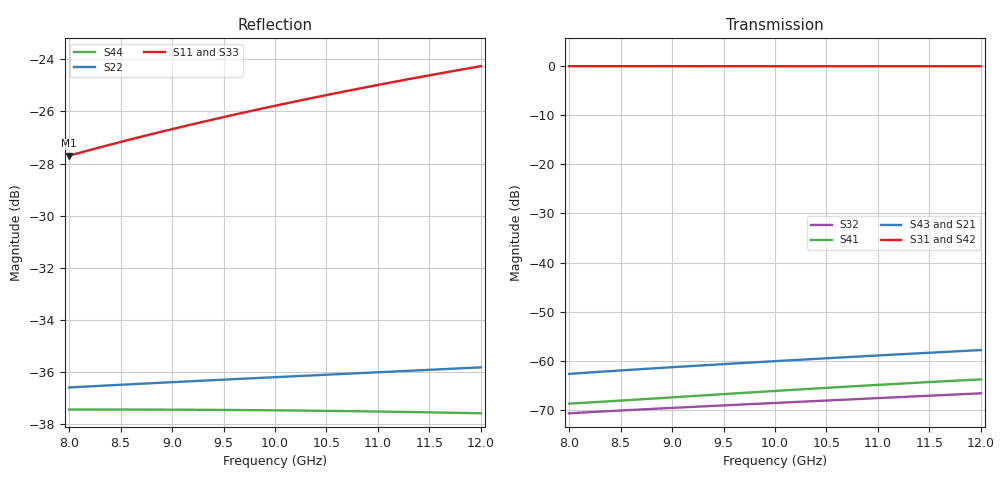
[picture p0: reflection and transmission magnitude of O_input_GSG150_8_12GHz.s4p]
! Touchstone file exported from HFSS 2023.1.0
!  Generated:  10:58:37 %x4E0B%x5348  9%x6708 11, 2026
!  Design:  O_INPUT_GSG150
!  Project:  O_input_GSG150_HFSS_screening
!  Setup:  Setup_RF
!  Solution:  Sweep_RF
!Data is not renormalized
# GHz S MA
! Terminal data exported
! Port[1] = P1_Odd
! Port[2] = P1_CPW
! Port[3] = P2_Odd
! Port[4] = P2_CPW
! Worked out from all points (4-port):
!   81 points, 8 GHz to 12 GHz, reference per port
!   strongest paths, dB at 8 GHz, 9 GHz, 10 GHz, 11 GHz, 12 GHz:
!     S31: -0.1, -0.1, -0.1, -0.1, -0.1
!     S42: -0.1, -0.1, -0.1, -0.1, -0.1
!     S43: -62.6, -61.3, -60.0, -58.9, -57.8
!     S21: -62.9, -61.6, -60.4, -59.2, -58.1
!     S41: -68.7, -67.4, -66.1, -64.8, -63.7
!     S32: -70.6, -69.5, -68.5, -67.5, -66.6
!   lowest |S11| = -27.7 dB at 8 GHz (marker M1), VSWR 1.09
!   |S11| at or under -10 dB: start of sweep to end of sweep
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8  0.04123 -94.7  0.0007137 -120.6  0.9912 -17.3  0.0003694 -145.3
   0.0007137 -120.6  0.01481 -8.7  0.0002945 -91.7  0.9856 -15.2
   0.9912 -17.3  0.0002945 -91.7  0.04036 -99.4  0.0007406 -83.2
   0.0003694 -145.3  0.9856 -15.2  0.0007406 -83.2  0.01344 -6.7
8.4  0.04328 -95.9  0.0007589 -122.0  0.991 -18.1  0.0003909 -147.1
     0.0007589 -122.0  0.01496 -9.7  0.0003105 -91.2  0.9855 -15.9
     0.991 -18.1  0.0003105 -91.2  0.04237 -100.8  0.0007902 -83.6
     0.0003909 -147.1  0.9855 -15.9  0.0007902 -83.6  0.01344 -7.7
8.85  0.04558 -97.2  0.0008124 -123.8  0.9908 -19.1  0.0004179 -149.2
      0.0008124 -123.8  0.01511 -10.8  0.0003283 -90.4  0.9854 -16.7
      0.9908 -19.1  0.0003283 -90.4  0.04462 -102.4  0.0008466 -84.0
      0.0004179 -149.2  0.9854 -16.7  0.0008466 -84.0  0.01343 -8.8
9.85  0.05063 -99.8  0.00094 -127.9  0.9904 -21.3  0.000486 -153.8
      0.00094 -127.9  0.01545 -13.2  0.0003688 -88.0  0.9852 -18.6
      0.9904 -21.3  0.0003688 -88.0  0.04954 -105.6  0.000977 -84.8
      0.000486 -153.8  0.9852 -18.6  0.000977 -84.8  0.0134 -10.8
10.95  0.05609 -102.6  0.001092 -132.0  0.9899 -23.6  0.0005689 -158.8
       0.001092 -132.0  0.01582 -15.5  0.0004178 -85.4  0.985 -20.7
       0.9899 -23.6  0.0004178 -85.4  0.05486 -109.1  0.001132 -85.8
       0.0005689 -158.8  0.985 -20.7  0.001132 -85.8  0.01332 -12.6
11.5  0.05878 -104.0  0.001173 -133.9  0.9896 -24.8  0.0006118 -161.2
      0.001173 -133.9  0.01601 -16.5  0.0004445 -84.4  0.9849 -21.7
      0.9896 -24.8  0.0004445 -84.4  0.05748 -110.7  0.001215 -86.5
      0.0006118 -161.2  0.9849 -21.7  0.001215 -86.5  0.01327 -13.4
12  0.0612 -105.1  0.001248 -135.4  0.9894 -25.9  0.000651 -163.3
    0.001248 -135.4  0.01619 -17.3  0.0004702 -83.7  0.9848 -22.6
    0.9894 -25.9  0.0004702 -83.7  0.05984 -112.2  0.001293 -87.1
    0.000651 -163.3  0.9848 -22.6  0.001293 -87.1  0.01322 -14.1
